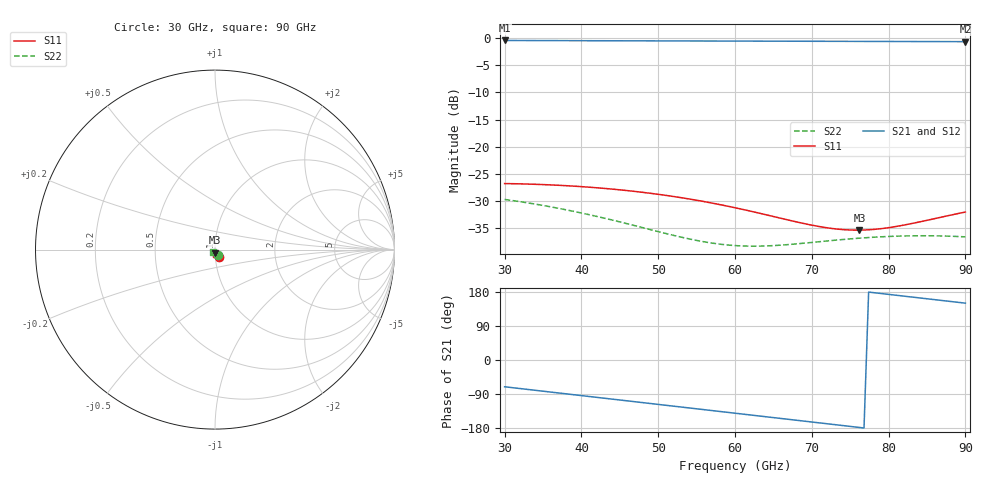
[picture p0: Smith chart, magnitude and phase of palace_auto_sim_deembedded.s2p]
! Created with skrf 1.11.0 (http://scikit-rf.org).
# GHz S DB R 50.0
!freq dBS11 angS11 dBS21 angS21 dBS12 angS12 dBS22 angS22
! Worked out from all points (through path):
!   101 points, 30 GHz to 90 GHz, reference 50 ohm
!   highest |S21| = -0.46 dB at 30 GHz (marker M1); lowest = -0.7 dB at 90 GHz (marker M2)
!   group delay of S21, straight-line fit = 6.45 ps
!   lowest |S11| = -35.3 dB at 76.2 GHz (marker M3), VSWR 1.03, Z = 49.8 - j1.7 ohm
!   |S11| at or under -10 dB: start of sweep to end of sweep
!   |S22| runs from -38.3 to -29.7 dB; largest |S21 - S12| = 1.1e-14
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30  -26.78 -62.8  -0.46 -70.7  -0.46 -70.7  -29.70 -60.3
33  -26.87 -69.8  -0.47 -77.6  -0.47 -77.6  -30.33 -66.8
35.4  -26.99 -75.3  -0.48 -83.2  -0.48 -83.2  -30.91 -71.8
37.8  -27.15 -80.5  -0.49 -88.8  -0.49 -88.8  -31.55 -76.4
40.2  -27.36 -85.5  -0.50 -94.4  -0.50 -94.4  -32.25 -80.6
42.6  -27.62 -90.3  -0.51 -100.0  -0.51 -100.0  -33.01 -84.2
45  -27.93 -94.9  -0.52 -105.6  -0.52 -105.6  -33.83 -87.2
47.4  -28.30 -99.2  -0.53 -111.1  -0.53 -111.1  -34.68 -89.5
50.4  -28.83 -104.1  -0.54 -118.1  -0.54 -118.1  -35.75 -90.9
52.8  -29.33 -107.5  -0.55 -123.7  -0.55 -123.7  -36.57 -90.9
55.8  -30.05 -111.2  -0.56 -130.6  -0.56 -130.6  -37.44 -89.5
60  -31.22 -114.6  -0.58 -140.4  -0.58 -140.4  -38.18 -85.8
62.4  -31.98 -115.4  -0.58 -146.0  -0.58 -146.0  -38.29 -83.6
65.4  -32.97 -114.7  -0.59 -152.9  -0.59 -152.9  -38.15 -82.0
70.2  -34.48 -109.1  -0.61 -164.1  -0.61 -164.1  -37.58 -83.3
73.2  -35.13 -102.4  -0.62 -171.0  -0.62 -171.0  -37.17 -86.5
76.2  -35.34 -94.2  -0.63 -178.0  -0.63 -178.0  -36.82 -91.3
78  -35.22 -89.3  -0.64 177.8  -0.64 177.8  -36.65 -94.9
80.4  -34.80 -83.4  -0.65 172.2  -0.65 172.2  -36.49 -100.4
82.8  -34.19 -78.8  -0.66 166.7  -0.66 166.7  -36.39 -106.7
85.2  -33.47 -75.6  -0.67 161.1  -0.67 161.1  -36.38 -113.6
90  -32.01 -72.9  -0.68 150.0  -0.68 150.0  -36.58 -129.4
